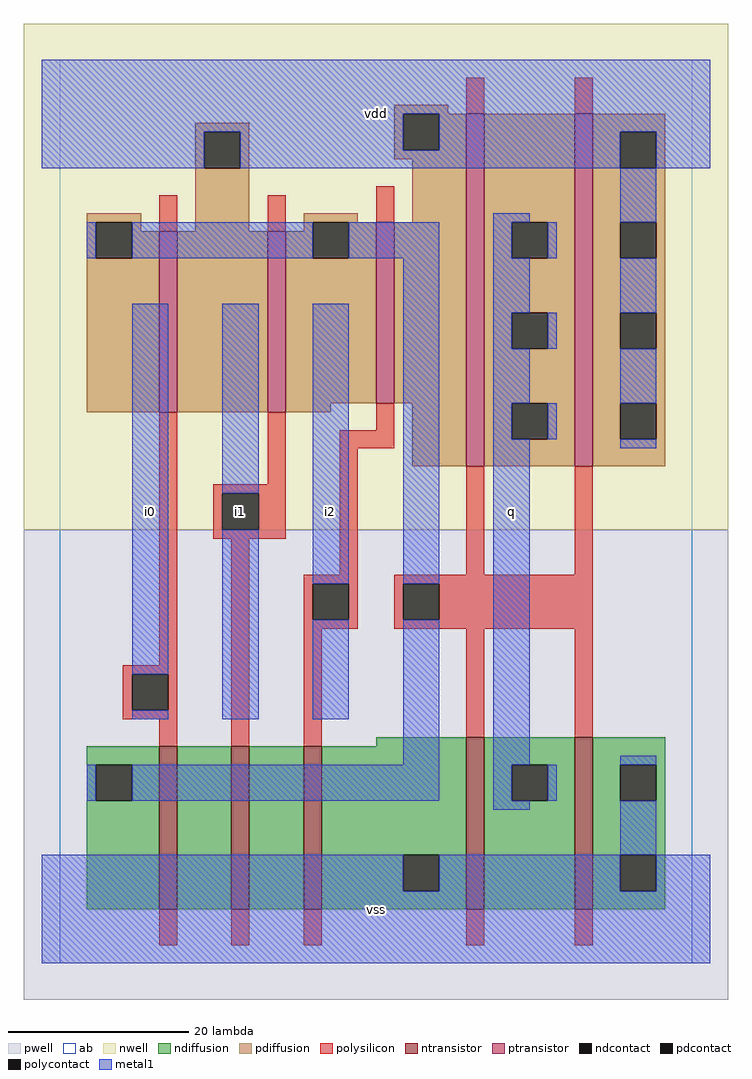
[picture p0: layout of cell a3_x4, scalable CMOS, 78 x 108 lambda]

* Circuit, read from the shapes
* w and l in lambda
.subckt a3_x4 i0 i1 i2 q vdd vss
M1 n1 i0 n2 VSUBS nfet w=18 l=2
M2 n3 i1 n1 VSUBS nfet w=18 l=2
M3 vss i2 n3 VSUBS nfet w=18 l=2
M4 q n2 vss VSUBS nfet w=19 l=2 m=2
M5 vdd i0 n2 n4 pfet w=20 l=2
M6 n2 i1 vdd n4 pfet w=20 l=2
M7 vdd i2 n2 n4 pfet w=20 l=2
M8 q n2 vdd n4 pfet w=39 l=2 m=2
.ends

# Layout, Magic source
magic
tech scmos
<< ab >>
rect 0 0 70 100
<< pwell >>
rect -4 -4 74 48
<< nwell >>
rect -4 48 74 104
<< polysilicon >>
rect 45 94 47 98
rect 57 94 59 98
rect 11 81 13 85
rect 23 81 25 85
rect 35 82 37 86
rect 11 33 13 61
rect 23 53 25 61
rect 35 59 37 62
rect 17 52 25 53
rect 17 48 18 52
rect 22 48 25 52
rect 17 47 25 48
rect 31 57 37 59
rect 7 32 13 33
rect 7 28 8 32
rect 12 28 13 32
rect 7 27 13 28
rect 11 24 13 27
rect 19 24 21 47
rect 31 43 33 57
rect 45 43 47 55
rect 57 43 59 55
rect 27 42 33 43
rect 27 38 28 42
rect 32 38 33 42
rect 27 37 33 38
rect 37 42 59 43
rect 37 38 38 42
rect 42 38 59 42
rect 37 37 59 38
rect 27 24 29 37
rect 45 25 47 37
rect 57 25 59 37
rect 11 2 13 6
rect 19 2 21 6
rect 27 2 29 6
rect 45 2 47 6
rect 57 2 59 6
<< ndiffusion >>
rect 35 24 45 25
rect 3 22 11 24
rect 3 18 4 22
rect 8 18 11 22
rect 3 6 11 18
rect 13 6 19 24
rect 21 6 27 24
rect 29 12 45 24
rect 29 8 38 12
rect 42 8 45 12
rect 29 6 45 8
rect 47 22 57 25
rect 47 18 50 22
rect 54 18 57 22
rect 47 6 57 18
rect 59 22 67 25
rect 59 18 62 22
rect 66 18 67 22
rect 59 12 67 18
rect 59 8 62 12
rect 66 8 67 12
rect 59 6 67 8
<< pdiffusion >>
rect 37 94 43 95
rect 15 92 21 93
rect 15 88 16 92
rect 20 88 21 92
rect 37 90 38 94
rect 42 90 45 94
rect 37 89 45 90
rect 3 82 9 83
rect 3 78 4 82
rect 8 81 9 82
rect 15 81 21 88
rect 27 82 33 83
rect 39 82 45 89
rect 27 81 28 82
rect 8 78 11 81
rect 3 61 11 78
rect 13 61 23 81
rect 25 78 28 81
rect 32 78 35 82
rect 25 62 35 78
rect 37 62 45 82
rect 25 61 30 62
rect 39 55 45 62
rect 47 82 57 94
rect 47 78 50 82
rect 54 78 57 82
rect 47 72 57 78
rect 47 68 50 72
rect 54 68 57 72
rect 47 62 57 68
rect 47 58 50 62
rect 54 58 57 62
rect 47 55 57 58
rect 59 92 67 94
rect 59 88 62 92
rect 66 88 67 92
rect 59 82 67 88
rect 59 78 62 82
rect 66 78 67 82
rect 59 72 67 78
rect 59 68 62 72
rect 66 68 67 72
rect 59 62 67 68
rect 59 58 62 62
rect 66 58 67 62
rect 59 55 67 58
<< metal1 >>
rect -2 94 72 100
rect -2 92 38 94
rect -2 88 16 92
rect 20 90 38 92
rect 42 92 72 94
rect 42 90 62 92
rect 20 88 62 90
rect 66 88 72 92
rect 48 82 52 83
rect 62 82 66 88
rect 3 78 4 82
rect 8 78 28 82
rect 32 78 42 82
rect 8 32 12 73
rect 8 27 12 28
rect 18 52 22 73
rect 18 27 22 48
rect 28 42 32 73
rect 28 27 32 38
rect 38 42 42 78
rect 38 22 42 38
rect 3 18 4 22
rect 8 18 42 22
rect 48 78 50 82
rect 54 78 55 82
rect 48 72 52 78
rect 62 72 66 78
rect 48 68 50 72
rect 54 68 55 72
rect 48 62 52 68
rect 62 62 66 68
rect 48 58 50 62
rect 54 58 55 62
rect 48 22 52 58
rect 62 57 66 58
rect 62 22 66 23
rect 48 18 50 22
rect 54 18 55 22
rect 48 17 52 18
rect 62 12 66 18
rect -2 8 38 12
rect 42 8 62 12
rect 66 8 72 12
rect -2 0 72 8
<< ntransistor >>
rect 11 6 13 24
rect 19 6 21 24
rect 27 6 29 24
rect 45 6 47 25
rect 57 6 59 25
<< ptransistor >>
rect 11 61 13 81
rect 23 61 25 81
rect 35 62 37 82
rect 45 55 47 94
rect 57 55 59 94
<< polycontact >>
rect 18 48 22 52
rect 8 28 12 32
rect 28 38 32 42
rect 38 38 42 42
<< ndcontact >>
rect 4 18 8 22
rect 38 8 42 12
rect 50 18 54 22
rect 62 18 66 22
rect 62 8 66 12
<< pdcontact >>
rect 16 88 20 92
rect 38 90 42 94
rect 4 78 8 82
rect 28 78 32 82
rect 50 78 54 82
rect 50 68 54 72
rect 50 58 54 62
rect 62 88 66 92
rect 62 78 66 82
rect 62 68 66 72
rect 62 58 66 62
<< labels >>
rlabel metal1 10 50 10 50 6 i0
rlabel metal1 30 50 30 50 6 i2
rlabel polycontact 20 50 20 50 6 i1
rlabel metal1 35 6 35 6 6 vss
rlabel metal1 50 50 50 50 6 q
rlabel metal1 35 94 35 94 6 vdd
<< end >>
